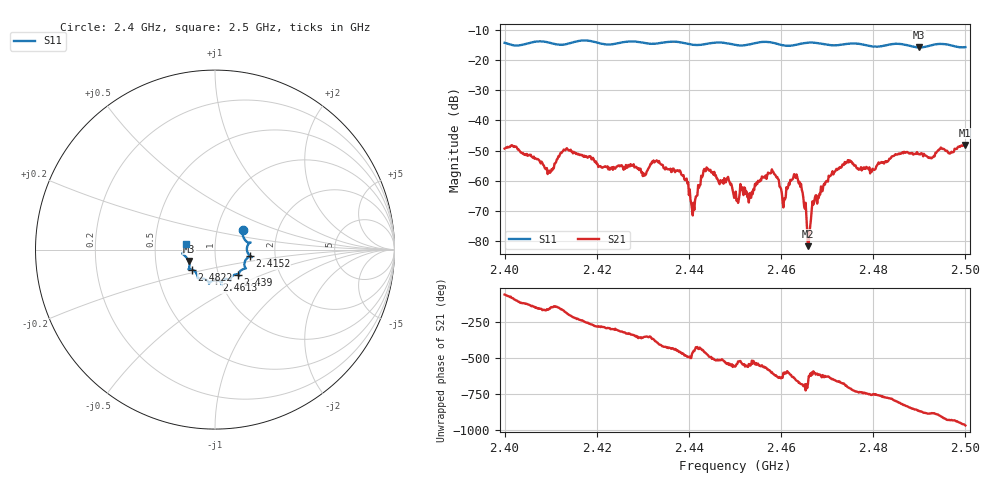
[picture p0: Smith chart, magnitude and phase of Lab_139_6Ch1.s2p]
# Hz S RI R 50
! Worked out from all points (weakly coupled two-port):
!   601 points, 2.4 GHz to 2.5 GHz, reference 50 ohm
!   highest |S21| = -48.16 dB at 2.4998 GHz (marker M1); lowest = -81.7 dB at 2.4658 GHz (marker M2)
!   lowest |S11| = -15.9 dB at 2.49 GHz (marker M3), VSWR 1.38, Z = 36.9 - j4.83 ohm
!   |S11| at or under -10 dB: start of sweep to end of sweep
!   S12 and S22 are empty: the file has one direction only
!   S11 on the Smith chart (normalised r, x): 2.4 GHz: 1.33, +0.31; 2.4152 GHz: 1.48, -0.11; 2.439 GHz: 1.24, -0.36; 2.4613 GHz: 0.96, -0.34; 2.4822 GHz: 0.76, -0.17; 2.5 GHz: 0.72, +0.05
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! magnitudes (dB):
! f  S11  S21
! 2.4 GHz  -14.4  -49.4
! 2.4098 GHz  -14.4  -57.4
! 2.4152 GHz  -14.1  -50.7
! 2.4167 GHz  -13.6  -51.6
! 2.4302 GHz  -14.4  -57.5
! 2.4333 GHz  -14.5  -53.9
! 2.439 GHz  -14.5  -59.5
! 2.4408 GHz  -15.0  -71.5
! 2.4437 GHz  -14.8  -56.8
! 2.45 GHz  -15.0  -65.1
! 2.4577 GHz  -14.2  -57.6
! 2.4605 GHz  -15.2  -68.8
! 2.4613 GHz  -15.3  -62.8
! 2.4638 GHz  -14.8  -60.9
! 2.4658 GHz  -14.3  -81.7
! 2.4667 GHz  -14.3  -69.3
! 2.474 GHz  -14.8  -54.3
! 2.4822 GHz  -15.4  -53.9
! 2.4833 GHz  -15.0  -53.3
! 2.49 GHz  -15.9  -51.2
! 2.4998 GHz  -15.8  -48.2
! 2.5 GHz  -15.8  -48.4
